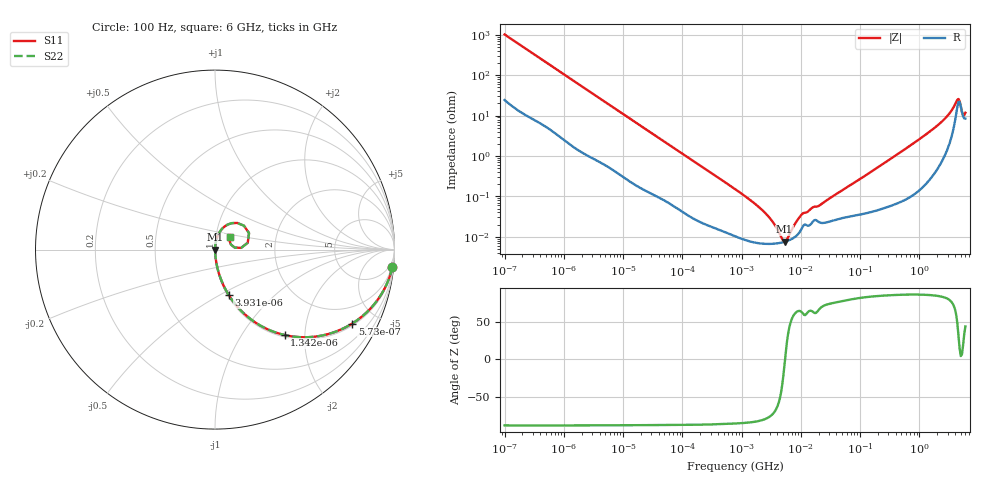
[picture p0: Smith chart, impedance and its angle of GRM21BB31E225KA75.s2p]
!Murata Part Number: GRM21BB31E225KA75
!These Parameters are Measured in Series Mode Connection
!Data Generated on Mar 30, 2021
!  o--ll--o
!Port1  Port2
!  o------o
!Operation Temp=25[degC], DC Bias Voltage=0[V]
!Freq. Start=100[Hz] Stop=6[GHz] 401[Steps]
# Hz S RI R 50
!Freq.(Hz) S11(Real) S11(Imag) S21(Real) S21(Imag) S12(Real) S12(Imag) S22(Real) S22(Imag)
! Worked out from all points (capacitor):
!   401 points, 100 Hz to 6 GHz, reference 50 ohm
!   read as one part in series: C = 1.55 uF near 109 Hz
!   lowest |Z| = 7.52 mohm at 5.312 MHz (marker M1)
!   series resonance near 5.415 MHz, so ESL is about 560 pH
!   S11 on the Smith chart (normalised r, x): 100 Hz: 1, -20; 573 Hz: 1.09, -3.66; 1.342 kHz: 1.04, -1.58; 3.931 kHz: 1.01, -0.55; 6 GHz: 1.17, +0.16
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100  0.9883 -0.0963  0.0117 0.0963  0.0117 0.0963  0.9883 -0.0963
280  0.9268 -0.2491  0.0732 0.2491  0.0732 0.2491  0.9268 -0.2491
573  0.7641 -0.4122  0.2359 0.4122  0.2359 0.4122  0.7641 -0.4122
1342  0.3875 -0.4759  0.6125 0.4759  0.6125 0.4759  0.3875 -0.4759
2008  0.2253 -0.4064  0.7747 0.4064  0.7747 0.4064  0.2253 -0.4064
3931  0.0755 -0.2514  0.9245 0.2514  0.9245 0.2514  0.0755 -0.2514
11009  0.0125 -0.0982  0.9875 0.0982  0.9875 0.0982  0.0125 -0.0982
40335  0.00171 -0.0277  0.9983 0.0277  0.9983 0.0277  0.00171 -0.0277
774597  0.000105 -0.00151  0.9999 0.00151  0.9999 0.00151  0.000105 -0.00151
2268635  6.75e-05 -0.000442  0.9999 0.000442  0.9999 0.000442  6.75e-05 -0.000442
4643984  7.12e-05 -6.96e-05  0.9999 6.96e-05  0.9999 6.96e-05  7.12e-05 -6.96e-05
5311619  7.47e-05 -8.6e-06  0.9999 8.6e-06  0.9999 8.6e-06  7.47e-05 -8.6e-06
6353432  8.19e-05 7.31e-05  0.9999 -7.31e-05  0.9999 -7.31e-05  8.19e-05 7.31e-05
9941735  0.000143 0.0003  0.9999 -0.0003  0.9999 -0.0003  0.000143 0.0003
1.555665e7  0.000225 0.000471  0.9998 -0.000471  0.9998 -0.000471  0.000225 0.000471
3.124326e8  0.000629 0.00807  0.9994 -0.00807  0.9994 -0.00807  0.000629 0.00807
1.95892e9  0.00733 0.0539  0.9927 -0.0539  0.9927 -0.0539  0.00733 0.0539
3.352442e9  0.0365 0.1123  0.9635 -0.1123  0.9635 -0.1123  0.0365 0.1123
4.193612e9  0.1236 0.1486  0.8764 -0.1486  0.8764 -0.1486  0.1236 0.1486
4.586474e9  0.1897 0.0917  0.8103 -0.0917  0.8103 -0.0917  0.1897 0.0917
5.486059e9  0.089 0.0277  0.911 -0.0277  0.911 -0.0277  0.089 0.0277
6e9  0.083 0.0693  0.917 -0.0693  0.917 -0.0693  0.083 0.0693
